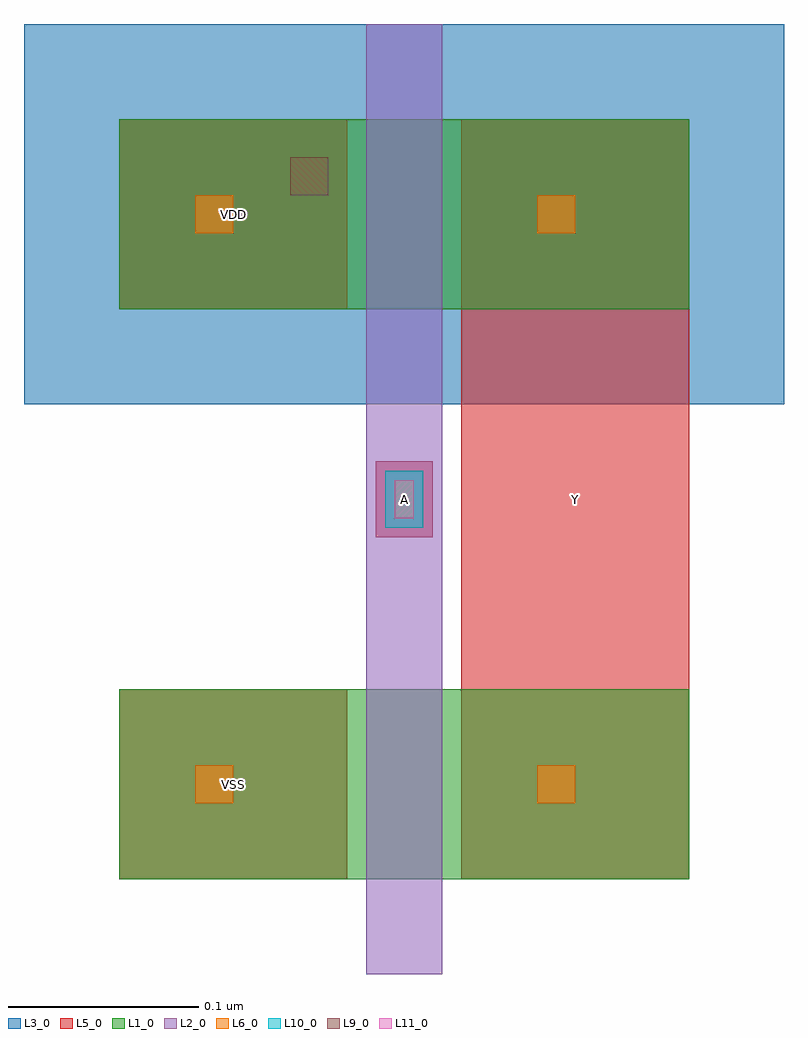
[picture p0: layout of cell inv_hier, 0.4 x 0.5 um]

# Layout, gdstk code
import gdstk
lib = gdstk.Library(unit=1e-6, precision=1e-09)
def R(c, l, rs):  # rectangles x0, y0, x1, y1
    for r in rs: c.add(gdstk.rectangle(r[:2], r[2:], *l))
L1_0 = (1, 0)
L2_0 = (2, 0)
L3_0 = (3, 0)
L5_0 = (5, 0)
L6_0 = (6, 0)
L9_0 = (9, 0)
L10_0 = (10, 0)
L11_0 = (11, 0)

inv_core = lib.new_cell('inv_core')
R(inv_core, L1_0, [(0,0,0.3,0.1), (0,0.3,0.3,0.4)])
R(inv_core, L2_0, [(0.13,-0.05,0.17,0.45)])
R(inv_core, L3_0, [(-0.05,0.25,0.35,0.45)])
R(inv_core, L5_0, [(0,0,0.12,0.1), (0.18,0,0.3,0.4), (0.135,0.18,0.165,0.22), (0,0.3,0.12,0.4)])
R(inv_core, L6_0, [(0.04,0.04,0.06,0.06), (0.22,0.04,0.24,0.06), (0.145,0.19,0.155,0.21), (0.04,0.34,0.06,0.36), (0.22,0.34,0.24,0.36)])
R(inv_core, L9_0, [(0.09,0.36,0.11,0.38)])

inv_hier = lib.new_cell('inv_hier')
R(inv_hier, L10_0, [(0.14,0.185,0.16,0.215)])
R(inv_hier, L11_0, [(0.145,0.19,0.155,0.21)])
inv_hier.add(gdstk.Reference(inv_core, (0,0)))
inv_hier.add(gdstk.Label('A', (0.15,0.2), layer=8, texttype=0))
inv_hier.add(gdstk.Label('Y', (0.24,0.2), layer=8, texttype=0))
inv_hier.add(gdstk.Label('VSS', (0.06,0.05), layer=8, texttype=0))
inv_hier.add(gdstk.Label('VDD', (0.06,0.35), layer=8, texttype=0))

lib.write_gds('inv_hier.gds')
